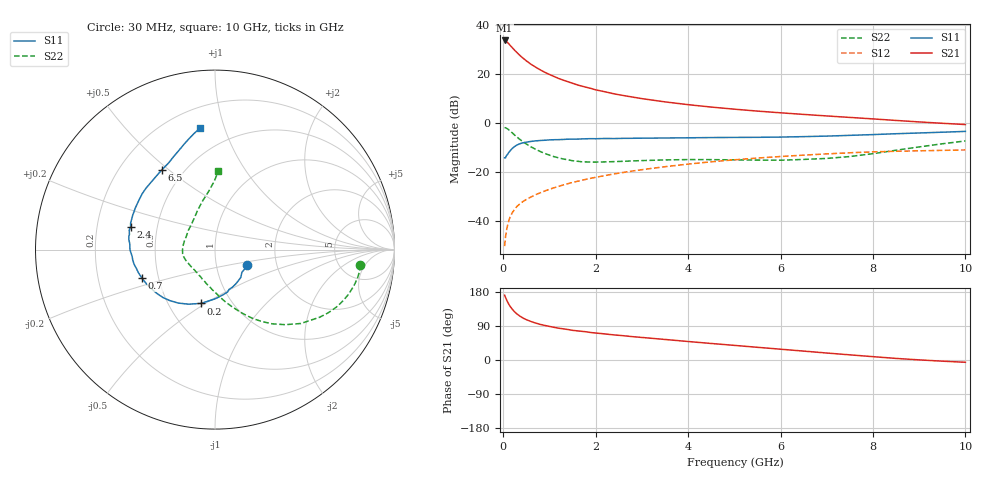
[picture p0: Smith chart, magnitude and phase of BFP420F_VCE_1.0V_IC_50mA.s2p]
! Infineon Technologies  Discrete & RF Semiconductors
! BFP420F
! VCE =  1.0 V,  IC =  50 mA
! Common Emitter S-Parameters:  Sep 2011
# GHz  S  MA  R  50
!  f  S11  S21  S12  S22
! GHz  MAG  ANG  MAG  ANG  MAG  ANG  MAG  ANG
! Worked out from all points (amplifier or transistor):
!   54 points, 30 MHz to 10 GHz, reference 50 ohm
!   highest |S21| = 33.8 dB at 30 MHz (marker M1)
!   |S21| within 3 dB of that: start of sweep to 198.8 MHz
!   unconditionally stable (mu >= 1): start of sweep to 33.44 MHz; 971.4 MHz to end of sweep
!   at 120 MHz: K = 0.56, MSG = 36.1 dB, |S12| = -39.8 dB
!   at 1.3 GHz: K = 1.08, MAG = 19.6 dB, |S12| = -25.2 dB
!   at 10 GHz: K = 1.23, MAG = 2.3 dB, |S12| = -10.9 dB
!   S11 on the Smith chart (normalised r, x): 30 MHz: 1.41, -0.25; 200 MHz: 0.72, -0.48; 700 MHz: 0.40, -0.16; 2.4 GHz: 0.35, +0.12; 6.5 GHz: 0.38, +0.47; 10 GHz: 0.33, +0.83
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0.03  0.1973 -25.9  49.1 171.1  0.0031 88.5  0.8147 -6.0
0.06  0.2115 -47.3  47.4 162.3  0.0055 80.6  0.8018 -13.9
0.08  0.2234 -58.7  45.65 156.8  0.0073 80.3  0.7829 -18.8
0.1  0.2349 -70.4  44.08 151.8  0.0087 78.1  0.7604 -23.2
0.12  0.2551 -79.4  42.02 147.2  0.0102 74.8  0.7348 -27.3
0.15  0.2753 -90.5  39.03 141.4  0.0122 72.7  0.694 -32.9
0.2  0.3098 -104.6  34.66 133.3  0.0152 69.7  0.6313 -40.7
0.25  0.3375 -115.7  30.74 126.7  0.0177 67.6  0.5719 -47.0
0.3  0.3615 -124.5  27.64 121.2  0.0202 65.6  0.5219 -52.4
0.4  0.3934 -137.0  22.5 112.8  0.0242 63.9  0.4399 -61.0
0.5  0.4119 -146.2  18.84 106.5  0.0279 63.2  0.3776 -67.7
0.7  0.4372 -158.7  14.02 97.5  0.0348 63.1  0.2951 -79.0
0.9  0.4508 -166.7  10.99 91.2  0.0415 63.5  0.2421 -88.8
1.2  0.4636 -175.5  8.221 83.9  0.0517 63.7  0.197 -103.6
1.7  0.4794 174.7  5.738 75.7  0.0686 62.9  0.1637 -126.3
2.4  0.4877 164.7  3.99 66.2  0.0926 60.4  0.1651 -148.8
3.5  0.5009 152.4  2.736 54.2  0.13 54.8  0.1786 -166.4
5.5  0.5171 133.9  1.774 33.5  0.1949 41.2  0.1772 165.0
6.5  0.5341 123.7  1.518 23.5  0.2238 33.8  0.1829 144.6
7  0.5474 118.2  1.412 18.4  0.2372 30.0  0.1917 133.7
8.5  0.6124 106.3  1.143 4.2  0.2685 18.0  0.2816 103.9
10  0.6833 96.9  0.943 -6.0  0.2857 9.0  0.436 87.6
